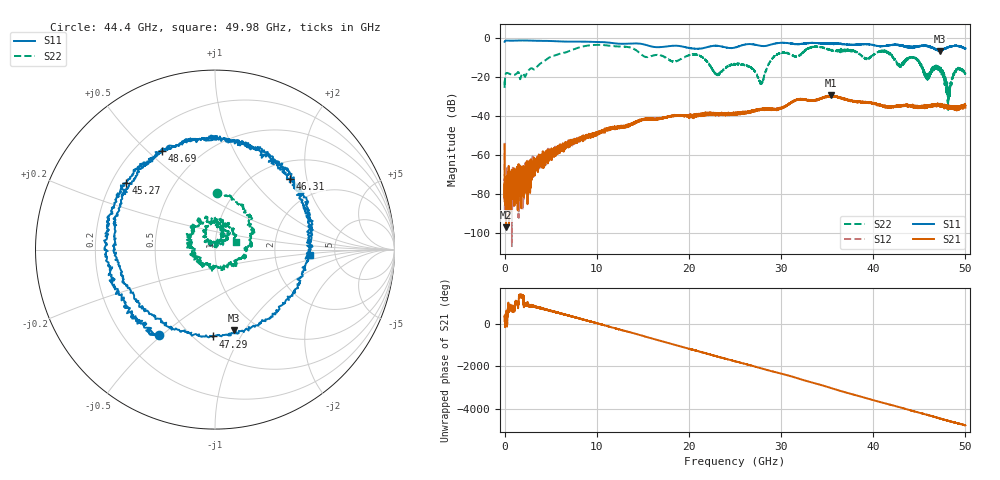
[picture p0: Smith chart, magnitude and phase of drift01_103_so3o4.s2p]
!Created with skrf (http://scikit-rf.org).
# Hz S RI R 50.0
!freq ReS11 ImS11 ReS21 ImS21 ReS12 ImS12 ReS22 ImS22
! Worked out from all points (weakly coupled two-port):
!   10001 points, 300 kHz to 50 GHz, reference 50 ohm
!   highest |S21| = -29.46 dB at 35.4 GHz (marker M1); lowest = -97.0 dB at 160.3 MHz (marker M2)
!   lowest |S11| = -6.8 dB at 47.2 GHz (marker M3), VSWR 2.70, Z = 39.4 - j44.7 ohm
!   |S11| at or under -10 dB: nowhere
!   |S22| runs from -36.9 to -3.6 dB; largest |S21 - S12| = 0.004
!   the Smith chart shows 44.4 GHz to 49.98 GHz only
!   S11 on the Smith chart (normalised r, x): 44.4 GHz: 0.35, -0.49; 45.27 GHz: 0.26, +0.31; 46.31 GHz: 1.36, +1.60; 47.29 GHz: 0.61, -0.77; 48.69 GHz: 0.31, +0.56; 49.98 GHz: 3.21, -0.27
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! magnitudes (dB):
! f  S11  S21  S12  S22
! 300 kHz  -2.1  -54.6  -53.8  -21.9
! 160.3 MHz  -1.5  -97.0  -73.9  -18.1
! 8.335 GHz  -1.9  -52.0  -51.4  -4.5
! 16.67 GHz  -4.8  -41.5  -41.4  -8.7
! 20.97 GHz  -5.6  -39.7  -39.5  -8.8
! 23.08 GHz  -4.1  -38.9  -39.1  -18.7
! 25 GHz  -5.0  -39.3  -39.1  -13.5
! 27.84 GHz  -4.1  -36.7  -36.4  -22.9
! 29.48 GHz  -2.8  -36.7  -36.7  -8.8
! 33.34 GHz  -2.6  -32.0  -32.0  -4.8
! 35.4 GHz  -2.7  -29.5  -29.7  -6.1
! 41.67 GHz  -3.9  -35.2  -35.1  -7.5
! 42.85 GHz  -3.9  -35.1  -34.7  -14.2
! 44.4 GHz  -4.9  -35.3  -35.3  -10.0
! 45.27 GHz  -4.2  -35.3  -35.7  -14.9
! 46.31 GHz  -4.8  -35.2  -34.3  -16.1
! 47.2 GHz  -6.8  -34.3  -34.7  -15.8
! 47.29 GHz  -6.3  -34.3  -33.7  -16.1
! 48.13 GHz  -4.8  -35.2  -35.3  -30.9
! 48.69 GHz  -4.1  -35.9  -35.6  -18.9
! 49.98 GHz  -5.5  -34.7  -35.1  -18.1
! 50 GHz  -5.5  -35.8  -35.4  -18.6
